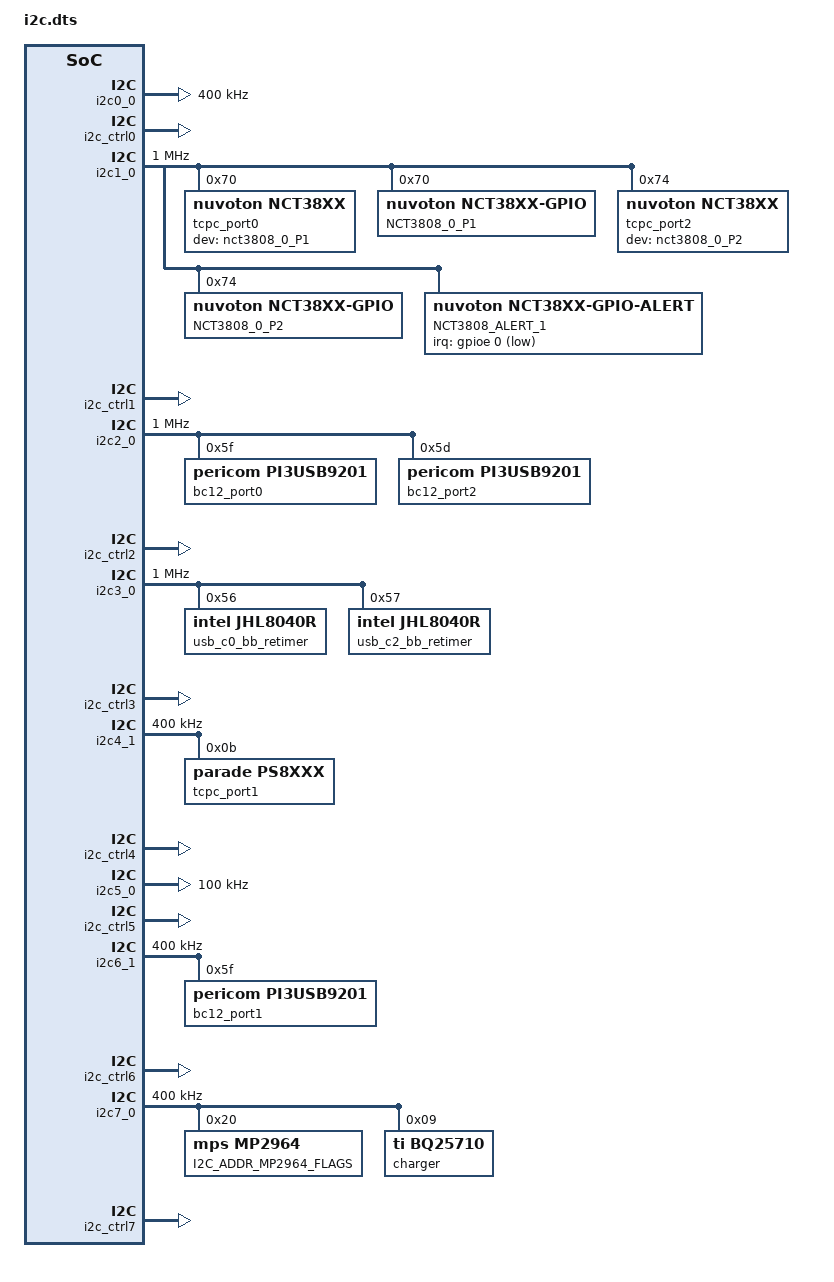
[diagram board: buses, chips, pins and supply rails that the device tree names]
/* Copyright 2022 The Chromium OS Authors. All rights reserved.
 * Use of this source code is governed by a BSD-style license that can be
 * found in the LICENSE file.
 */

 #include <dt-bindings/usb_pd_tcpm.h>

/ {
	named-i2c-ports {
		compatible = "named-i2c-ports";
		i2c_sensor: sensor {
			i2c-port = <&i2c0_0>;
			enum-names = "I2C_PORT_SENSOR";
		};
		tcpc0_2: tcpc0_2 {
			i2c-port = <&i2c1_0>;
			enum-names = "I2C_PORT_USB_C0_C2_TCPC";
		};
		tcpc1: tcpc1 {
			i2c-port = <&i2c4_1>;
			enum-names = "I2C_PORT_USB_C1_TCPC";
			dynamic-speed;
		};
		c0_c2_bc12: c0_c2_bc12 {
			i2c-port = <&i2c2_0>;
			enum-names = "I2C_PORT_USB_C0_C2_PPC",
				"I2C_PORT_USB_C0_C2_BC12";
		};
		c1_bc12: c1_bc12 {
			i2c-port = <&i2c6_1>;
			enum-names = "I2C_PORT_USB_C1_PPC",
				"I2C_PORT_USB_C1_BC12";
			dynamic-speed;
		};
		retimer0_2: retimer0_2 {
			i2c-port = <&i2c3_0>;
			enum-names = "I2C_PORT_USB_C0_C2_MUX";
		};
		battery {
			i2c-port = <&i2c5_0>;
			enum-names = "I2C_PORT_BATTERY";
		};
		i2c_charger: charger {
			i2c-port = <&i2c7_0>;
			enum-names =  "I2C_PORT_CHARGER",
				"I2C_PORT_EEPROM",
				"I2C_PORT_MP2964";
		};
	};
};

&i2c0_0 {
	status = "okay";
	clock-frequency = <I2C_BITRATE_FAST>;
	pinctrl-0 = <&i2c0_0_sda_scl_gpb4_b5>;
	pinctrl-names = "default";
};

&i2c_ctrl0 {
	status = "okay";
};

&i2c1_0 {
	status = "okay";
	clock-frequency = <I2C_BITRATE_FAST_PLUS>;
	pinctrl-0 = <&i2c1_0_sda_scl_gp87_90>;
	pinctrl-names = "default";

	tcpc_port0: nct38xx@70 {
		compatible = "nuvoton,nct38xx";
		reg = <0x70>;
		gpio-dev = <&nct3808_0_P1>;
		tcpc-flags = <(
			TCPC_FLAGS_TCPCI_REV2_0 |
			TCPC_FLAGS_NO_DEBUG_ACC_CONTROL)>;
	};

	nct3808_0_P1: nct3808_0_P1@70 {
		#address-cells = <1>;
		#size-cells = <0>;
		compatible = "nuvoton,nct38xx-gpio";
		reg = <0x70>;
		label = "NCT3808_0_P1";

		ioex_port1: gpio@0 {
			compatible = "nuvoton,nct38xx-gpio-port";
			reg = <0x0>;
			label = "NCT3808_0_P1_GPIO0";
			gpio-controller;
			#gpio-cells = <2>;
			ngpios = <8>;
			pin_mask = <0xdc>;
			pinmux_mask = <0xff>;
		};
	};

	tcpc_port2: nct38xx@74 {
		compatible = "nuvoton,nct38xx";
		reg = <0x74>;
		gpio-dev = <&nct3808_0_P2>;
		tcpc-flags = <(TCPC_FLAGS_TCPCI_REV2_0)>;
	};

	nct3808_0_P2: nct3808_0_P2@74 {
		#address-cells = <1>;
		#size-cells = <0>;
		compatible = "nuvoton,nct38xx-gpio";
		reg = <0x74>;
		label = "NCT3808_0_P2";

		ioex_port2: gpio@0 {
			compatible = "nuvoton,nct38xx-gpio-port";
			reg = <0x0>;
			label = "NCT3808_0_P2_GPIO0";
			gpio-controller;
			#gpio-cells = <2>;
			ngpios = <8>;
			pin_mask = <0xdc>;
			pinmux_mask = <0xff>;
		};
	};

	nct3808_alert_1 {
		compatible = "nuvoton,nct38xx-gpio-alert";
		irq-gpios = <&gpioe 0 (GPIO_PULL_UP | GPIO_ACTIVE_LOW)>;
		nct38xx-dev = <&nct3808_0_P1 &nct3808_0_P2>;
		label = "NCT3808_ALERT_1";
	};
};

&i2c_ctrl1 {
	status = "okay";
};

&i2c2_0 {
	status = "okay";
	clock-frequency = <I2C_BITRATE_FAST_PLUS>;
	pinctrl-0 = <&i2c2_0_sda_scl_gp91_92>;
	pinctrl-names = "default";

	bc12_port0: pi3usb9201@5f {
		compatible = "pericom,pi3usb9201";
		status = "okay";
		reg = <0x5f>;
		irq = <&int_usb_c0_bc12>;
	};

	bc12_port2: pi3usb9201@5d {
		compatible = "pericom,pi3usb9201";
		status = "okay";
		reg = <0x5d>;
		irq = <&int_usb_c2_bc12>;
	};
};

&i2c_ctrl2 {
	status = "okay";
};

&i2c3_0 {
	status = "okay";
	clock-frequency = <I2C_BITRATE_FAST_PLUS>;
	pinctrl-0 = <&i2c3_0_sda_scl_gpd0_d1>;
	pinctrl-names = "default";

	usb_c0_bb_retimer: jhl8040r-c0@56 {
		compatible = "intel,jhl8040r";
		reg = <0x56>;
		int-pin = <&usb_c0_rt_int_odl>;
		reset-pin = <&usb_c0_rt_rst_odl>;
	};

	usb_c2_bb_retimer: jhl8040r-c2@57 {
		compatible = "intel,jhl8040r";
		reg = <0x57>;
		int-pin = <&usb_c2_rt_int_odl>;
		reset-pin = <&usb_c2_rt_rst_odl>;
	};
};

&i2c_ctrl3 {
	status = "okay";
};

&i2c4_1 {
	status = "okay";
	clock-frequency = <I2C_BITRATE_FAST>;
	pinctrl-0 = <&i2c4_1_sda_scl_gpf2_f3>;
	pinctrl-names = "default";

	tcpc_port1: ps8xxx@b {
		compatible = "parade,ps8xxx";
		reg = <0xb>;
		tcpc-flags = <(
			TCPC_FLAGS_TCPCI_REV2_0 |
			TCPC_FLAGS_TCPCI_REV2_0_NO_VSAFE0V |
			TCPC_FLAGS_CONTROL_VCONN |
			TCPC_FLAGS_CONTROL_FRS)>;
	};
};

&i2c_ctrl4 {
	status = "okay";
};

&i2c5_0 {
	status = "okay";
	clock-frequency = <I2C_BITRATE_STANDARD>;
	pinctrl-0 = <&i2c5_0_sda_scl_gp33_36>;
	pinctrl-names = "default";
};

&i2c_ctrl5 {
	status = "okay";
};

&i2c6_1 {
	status = "okay";
	clock-frequency = <I2C_BITRATE_FAST>;
	pinctrl-0 = <&i2c6_1_sda_scl_gpe3_e4>;
	pinctrl-names = "default";

	bc12_port1: pi3usb9201@5f {
		compatible = "pericom,pi3usb9201";
		status = "okay";
		reg = <0x5f>;
		irq = <&int_usb_c1_bc12>;
	};
};

&i2c_ctrl6 {
	status = "okay";
};

&i2c7_0 {
	status = "okay";
	clock-frequency = <I2C_BITRATE_FAST>;
	pinctrl-0 = <&i2c7_0_sda_scl_gpb2_b3>;
	pinctrl-names = "default";

	pmic_mp2964: pmic_mp2964@20 {
		compatible = "mps,mp2964";
		reg = <0x20>;
		label = "I2C_ADDR_MP2964_FLAGS";
	};

	charger: bq25710@9 {
		compatible = "ti,bq25710";
		status = "okay";
		reg = <0x9>;
	};
};

&i2c_ctrl7 {
	status = "okay";
};
